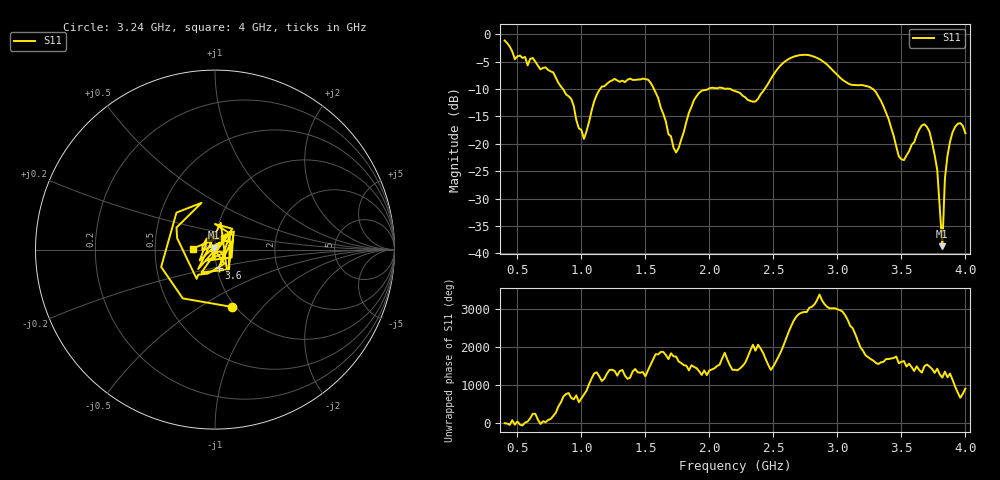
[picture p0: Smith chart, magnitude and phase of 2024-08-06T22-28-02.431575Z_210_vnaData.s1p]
!Created with skrf (http://scikit-rf.org).
# Hz S RI R 50.0
!freq ReS11 ImS11
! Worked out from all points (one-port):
!   181 points, 400 MHz to 4 GHz, reference 50 ohm
!   lowest |S11| = -38.7 dB at 3.82 GHz (marker M1), VSWR 1.02, Z = 49.6 + j1.09 ohm
!   |S11| at or under -10 dB: 856.3 MHz to 1.146 GHz (289.4 MHz wide, 28.9 % of centre); 1.567 GHz to 1.99 GHz (422.7 MHz wide, 23.8 % of centre); 3.278 GHz to end of sweep (the widest 3 of 4)
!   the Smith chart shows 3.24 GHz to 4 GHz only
!   S11 on the Smith chart (normalised r, x): 3.24 GHz: 0.97, -0.70; 3.6 GHz: 1.03, -0.21; 4 GHz: 0.78, +0.01
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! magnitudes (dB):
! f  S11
! 400 MHz  -1.1
! 480 MHz  -4.6
! 620 MHz  -4.3
! 860 MHz  -10.1
! 1.02 GHz  -19.1
! 1.14 GHz  -10.2
! 1.3 GHz  -8.7
! 1.52 GHz  -8.3
! 1.72 GHz  -20.7
! 1.76 GHz  -20.7
! 1.92 GHz  -10.7
! 2.2 GHz  -10.4
! 2.36 GHz  -12.3
! 2.66 GHz  -4.1
! 3.1 GHz  -9.2
! 3.24 GHz  -9.5
! 3.36 GHz  -13.2
! 3.48 GHz  -22.3
! 3.56 GHz  -21.4
! 3.6 GHz  -19.7
! 3.66 GHz  -16.6
! 3.72 GHz  -17.8
! 3.78 GHz  -24.7
! 3.82 GHz  -38.7
! 3.84 GHz  -26.3
! 3.88 GHz  -19.6
! 3.94 GHz  -16.3
! 4 GHz  -18.1
